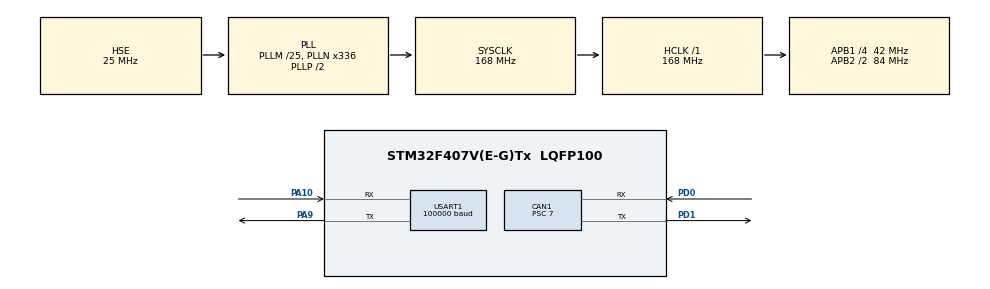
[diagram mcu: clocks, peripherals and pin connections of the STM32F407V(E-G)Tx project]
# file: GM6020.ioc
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CAN1.BS1=CAN_BS1_2TQ
CAN1.BS2=CAN_BS2_3TQ
CAN1.CalculateBaudRate=999999
CAN1.CalculateTimeBit=1000
CAN1.CalculateTimeQuantum=166.66666666666669
CAN1.Prescaler=7
Dma.Request0=USART1_RX
Dma.USART1_RX.0.Direction=DMA_PERIPH_TO_MEMORY
Dma.USART1_RX.0.FIFOMode=DMA_FIFOMODE_DISABLE
Dma.USART1_RX.0.Instance=DMA2_Stream2
Dma.USART1_RX.0.MemDataAlignment=DMA_MDATAALIGN_BYTE
Dma.USART1_RX.0.MemInc=DMA_MINC_ENABLE
Dma.USART1_RX.0.Mode=DMA_CIRCULAR
Dma.USART1_RX.0.PeriphDataAlignment=DMA_PDATAALIGN_BYTE
Dma.USART1_RX.0.PeriphInc=DMA_PINC_DISABLE
Dma.USART1_RX.0.Priority=DMA_PRIORITY_VERY_HIGH
Mcu.Family=STM32F4
Mcu.Name=STM32F407V(E-G)Tx
Mcu.Package=LQFP100
NVIC.CAN1_RX0_IRQn=true\:0\:0\:false\:false\:true\:true\:true\:true
NVIC.DMA2_Stream2_IRQn=true\:0\:0\:false\:false\:true\:false\:true\:true
NVIC.PriorityGroup=NVIC_PRIORITYGROUP_4
NVIC.USART1_IRQn=true\:0\:0\:true\:false\:true\:true\:true\:true
PA10.Mode=Asynchronous
PA10.Signal=USART1_RX
PA13.Mode=Serial_Wire
PA13.Signal=SYS_JTMS-SWDIO
PA14.Mode=Serial_Wire
PA14.Signal=SYS_JTCK-SWCLK
PA9.Mode=Asynchronous
PA9.Signal=USART1_TX
PD0.Mode=CAN_Activate
PD0.Signal=CAN1_RX
PD1.Mode=CAN_Activate
PD1.Signal=CAN1_TX
PH0-OSC_IN.Mode=HSE-External-Oscillator
PH0-OSC_IN.Signal=RCC_OSC_IN
PH1-OSC_OUT.Mode=HSE-External-Oscillator
PH1-OSC_OUT.Signal=RCC_OSC_OUT
ProjectManager.HeapSize=0x200
ProjectManager.StackSize=0x400
ProjectManager.TargetToolchain=MDK-ARM V5.32
RCC.48MHZClocksFreq_Value=84000000
RCC.AHBFreq_Value=168000000
RCC.APB1CLKDivider=RCC_HCLK_DIV4
RCC.APB1Freq_Value=42000000
RCC.APB1TimFreq_Value=84000000
RCC.APB2CLKDivider=RCC_HCLK_DIV2
RCC.APB2Freq_Value=84000000
RCC.APB2TimFreq_Value=168000000
RCC.CortexFreq_Value=168000000
RCC.HCLKFreq_Value=168000000
RCC.HSE_VALUE=25000000
RCC.HSI_VALUE=16000000
RCC.LSE_VALUE=32768
RCC.PLLM=25
RCC.PLLN=336
RCC.PLLSourceVirtual=RCC_PLLSOURCE_HSE
RCC.SYSCLKFreq_VALUE=168000000
RCC.SYSCLKSource=RCC_SYSCLKSOURCE_PLLCLK
RCC.VCOOutputFreq_Value=336000000
USART1.BaudRate=100000
USART1.Parity=PARITY_EVEN
USART1.VirtualMode=VM_ASYNC
board=custom

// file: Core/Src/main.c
/* USER CODE BEGIN Header */
/**
  ******************************************************************************
  * @file           : main.c
  * @brief          : Main program body
  ******************************************************************************
  * @attention
  *
  * Copyright (c) 2024 STMicroelectronics.
  * All rights reserved.
  *
  * This software is licensed under terms that can be found in the LICENSE file
  * in the root directory of this software component.
  * If no LICENSE file comes with this software, it is provided AS-IS.
  *
  ******************************************************************************
  */
/* USER CODE END Header */
#include "main.h"
#include "can.h"
#include "dma.h"
#include "usart.h"
#include "gpio.h"

/* USER CODE BEGIN Includes */
#include "motor_can.h"
#include "pid.h"
#include "remote_control.h"
/* USER CODE END Includes */

/* USER CODE BEGIN PV */

int16_t text_speed = 0;

int16_t Target_Speed;
float Target_Angle ;
float Current_Angle;
extern motor_info_t GM6020;
extern pid_struct GM6020_speed_pid;
extern pid_struct GM6020_angle_pid;

const RC_ctrl_t *local_rc_ctrl;

/* USER CODE END PV */

void SystemClock_Config(void);

int main(void)
{

  /* MCU Configuration--------------------------------------------------------*/

  /* Reset of all peripherals, Initializes the Flash interface and the Systick. */
  HAL_Init();

  /* Configure the system clock */
  SystemClock_Config();

  /* Initialize all configured peripherals */
  MX_GPIO_Init();
  MX_DMA_Init();
  MX_CAN1_Init();
  MX_USART1_UART_Init();
  /* USER CODE BEGIN 2 */
	can_filter_init();
	GM6020_PID_Set();

	remote_control_init();
	local_rc_ctrl = get_remote_control_point();

	int cnt;
  /* USER CODE END 2 */

  /* Infinite loop */
  /* USER CODE BEGIN WHILE */
  while (1)
  {
//		Set_voltage(&hcan1,text_speed);

		Target_Angle=(local_rc_ctrl->rc.ch[0])/660*140;//将输入通道0值(-660~660)作为目标角度，并转换为角度值（-180~180）
		Current_Angle=(float)(GM6020.Angle)/8191*360-180;//将编码器的值（0~8191）转换为角度值（-180~180）

		PID_Control(&GM6020_angle_pid,Target_Angle, Current_Angle);//角度环
		PID_Control(&GM6020_speed_pid,GM6020_angle_pid.output, GM6020.Speed);//速度环

		Set_voltage(&hcan1,GM6020_speed_pid.output);//can发送经过PID计算的电压值

		HAL_Delay(40);
    /* USER CODE END WHILE */

  }
}

void SystemClock_Config(void)
{
  RCC_OscInitTypeDef RCC_OscInitStruct = {0};
  RCC_ClkInitTypeDef RCC_ClkInitStruct = {0};

  /** Configure the main internal regulator output voltage
  */
  __HAL_RCC_PWR_CLK_ENABLE();
  __HAL_PWR_VOLTAGESCALING_CONFIG(PWR_REGULATOR_VOLTAGE_SCALE1);

  /** Initializes the RCC Oscillators according to the specified parameters
  * in the RCC_OscInitTypeDef structure.
  */
  RCC_OscInitStruct.OscillatorType = RCC_OSCILLATORTYPE_HSE;
  RCC_OscInitStruct.HSEState = RCC_HSE_ON;
  RCC_OscInitStruct.PLL.PLLState = RCC_PLL_ON;
  RCC_OscInitStruct.PLL.PLLSource = RCC_PLLSOURCE_HSE;
  RCC_OscInitStruct.PLL.PLLM = 25;
  RCC_OscInitStruct.PLL.PLLN = 336;
  RCC_OscInitStruct.PLL.PLLP = RCC_PLLP_DIV2;
  RCC_OscInitStruct.PLL.PLLQ = 4;
  if (HAL_RCC_OscConfig(&RCC_OscInitStruct) != HAL_OK)
  {
    Error_Handler();
  }

  /** Initializes the CPU, AHB and APB buses clocks
  */
  RCC_ClkInitStruct.ClockType = RCC_CLOCKTYPE_HCLK|RCC_CLOCKTYPE_SYSCLK
                              |RCC_CLOCKTYPE_PCLK1|RCC_CLOCKTYPE_PCLK2;
  RCC_ClkInitStruct.SYSCLKSource = RCC_SYSCLKSOURCE_PLLCLK;
  RCC_ClkInitStruct.AHBCLKDivider = RCC_SYSCLK_DIV1;
  RCC_ClkInitStruct.APB1CLKDivider = RCC_HCLK_DIV4;
  RCC_ClkInitStruct.APB2CLKDivider = RCC_HCLK_DIV2;

  if (HAL_RCC_ClockConfig(&RCC_ClkInitStruct, FLASH_LATENCY_5) != HAL_OK)
  {
    Error_Handler();
  }
}

void Error_Handler(void)
{
  __disable_irq();
  while (1)
  {
  }
}
